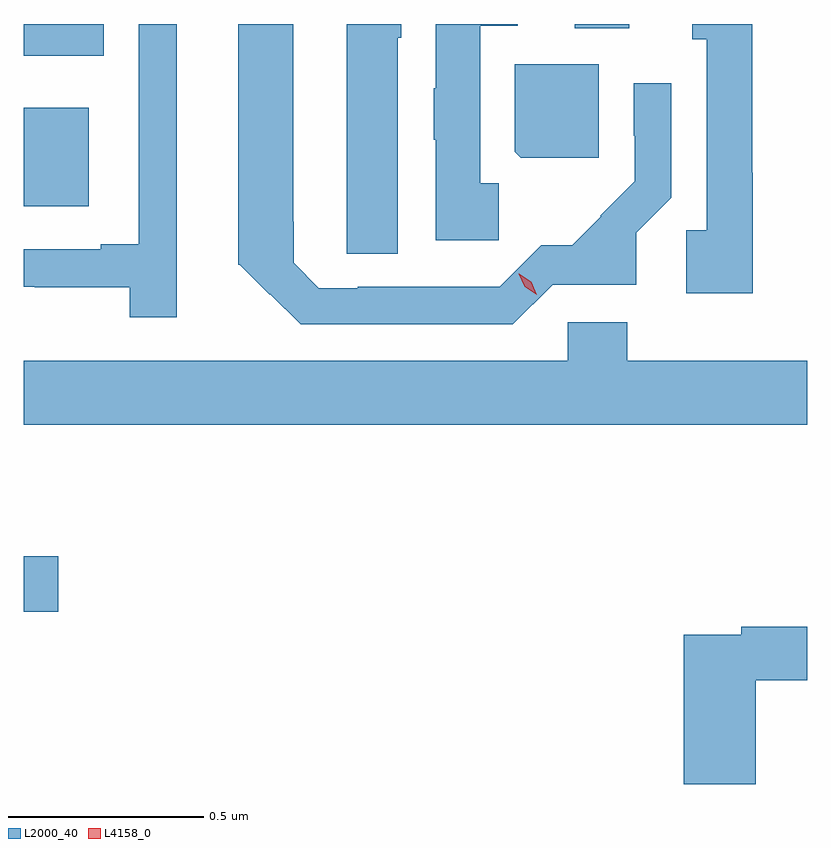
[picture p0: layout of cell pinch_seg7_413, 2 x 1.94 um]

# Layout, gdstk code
import gdstk
lib = gdstk.Library(unit=1e-6, precision=1e-09)
def R(c, l, rs):  # rectangles x0, y0, x1, y1
    for r in rs: c.add(gdstk.rectangle(r[:2], r[2:], *l))
def P(c, l, *ps):  # polygons
    for p in ps: c.add(gdstk.Polygon(p, *l))
L2000_40 = (2000, 40)
L4158_0 = (4158, 0)

pinch_seg7_413 = lib.new_cell('pinch_seg7_413')
R(pinch_seg7_413, L2000_40, [(545.931,1020.119,546.019,1020.261), (545.931,1021.154,546.097,1021.405), (545.931,1021.538,546.135,1021.619), (547.337,1021.608,547.477,1021.619)])
P(pinch_seg7_413, L2000_40, [(546.322,1021.619),(546.225,1021.619),(546.225,1021.057),(546.128,1021.057),(546.128,1021.044),(545.931,1021.044),(545.931,1020.948),(545.959,1020.948),(545.959,1020.947),(546.202,1020.947),(546.202,1020.87),(546.322,1020.87)],
  [(547.144,1021.212),(547.096,1021.212),(547.096,1021.614),(547.192,1021.614),(547.192,1021.619),(546.983,1021.619),(546.983,1021.455),(546.977,1021.455),(546.977,1021.323),(546.983,1021.323),(546.983,1021.067),(547.144,1021.067)],
  [(547.281,1020.954),(547.495,1020.954),(547.495,1021.086),(547.584,1021.175),(547.584,1021.468),(547.488,1021.468),(547.488,1021.334),(547.491,1021.334),(547.491,1021.218),(547.402,1021.129),(547.404,1021.127),(547.331,1021.054),(547.252,1021.054),(547.146,1020.948),(546.784,1020.948),(546.784,1020.945),(546.684,1020.945),(546.62,1021.01),(546.62,1021.114),(546.619,1021.114),(546.619,1021.619),(546.479,1021.619),(546.479,1021.005),(546.482,1021.005),(546.559,1020.928),(546.56,1020.929),(546.638,1020.852),(547.179,1020.852)],
  [(546.886,1021.584),(546.895,1021.584),(546.895,1021.619),(546.755,1021.619),(546.755,1021.033),(546.886,1021.033)],
  [(547.792,1021.239),(547.79,1021.239),(547.79,1021.619),(547.637,1021.619),(547.637,1021.58),(547.674,1021.58),(547.674,1021.092),(547.622,1021.092),(547.622,1020.932),(547.792,1020.932)],
  [(547.399,1021.516),(547.184,1021.516),(547.184,1021.293),(547.2,1021.277),(547.399,1021.277)],
  [(547.931,1020.76),(547.472,1020.76),(547.472,1020.858),(547.32,1020.858),(547.32,1020.76),(545.931,1020.76),(545.931,1020.596),(547.931,1020.596)],
  [(547.799,1019.944),(547.931,1019.944),(547.931,1020.08),(547.762,1020.08),(547.762,1020.06),(547.616,1020.06),(547.616,1019.679),(547.799,1019.679)])
P(pinch_seg7_413, L4158_0, [(547.24,1020.928),(547.21,1020.948),(547.195,1020.981),(547.195,1020.982),(547.196,1020.982),(547.226,1020.961),(547.24,1020.928),(547.24,1020.928)])

lib.write_gds('pinch_seg7_413.gds')
